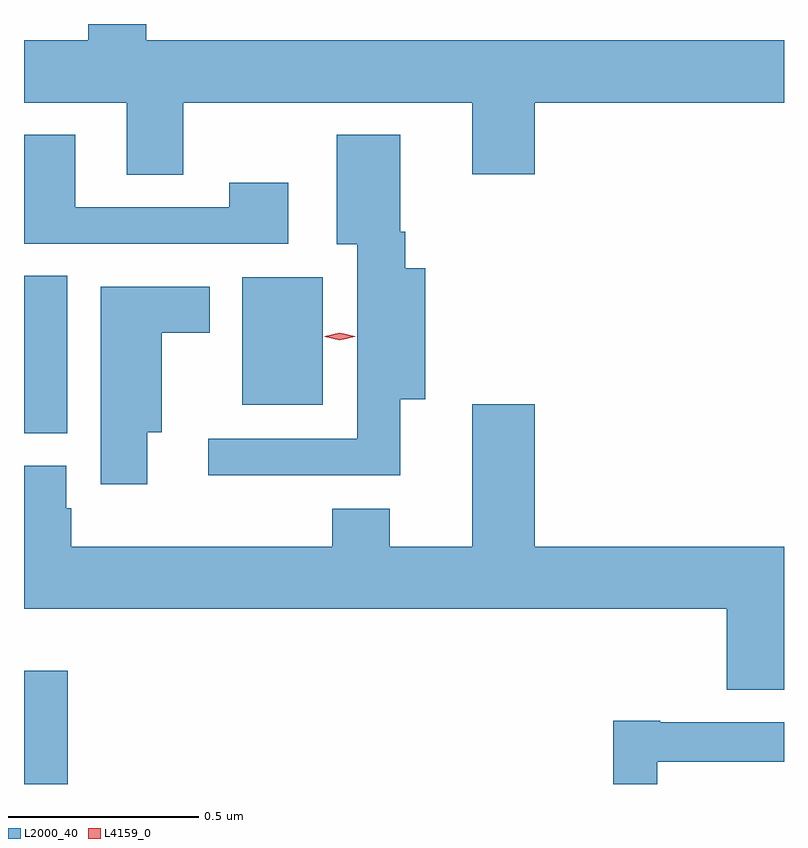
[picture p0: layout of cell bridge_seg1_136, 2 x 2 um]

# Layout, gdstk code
import gdstk
lib = gdstk.Library(unit=1e-6, precision=1e-09)
def R(c, l, rs):  # rectangles x0, y0, x1, y1
    for r in rs: c.add(gdstk.rectangle(r[:2], r[2:], *l))
def P(c, l, *ps):  # polygons
    for p in ps: c.add(gdstk.Polygon(p, *l))
L2000_40 = (2000, 40)
L4159_0 = (4159, 0)

bridge_seg1_136 = lib.new_cell('bridge_seg1_136')
R(bridge_seg1_136, L2000_40, [(499.492,532.623,499.607,532.921), (499.492,533.546,499.606,533.96), (500.066,533.621,500.278,533.956)])
P(bridge_seg1_136, L2000_40, [(499.911,534.416),(500.672,534.416),(500.672,534.228),(500.836,534.228),(500.836,534.416),(501.492,534.416),(501.492,534.58),(499.814,534.58),(499.814,534.623),(499.661,534.623),(499.661,534.58),(499.492,534.58),(499.492,534.416),(499.763,534.416),(499.763,534.226),(499.911,534.226)],
  [(500.482,533.636),(500.548,533.636),(500.548,533.98),(500.495,533.98),(500.495,534.076),(500.482,534.076),(500.482,534.331),(500.315,534.331),(500.315,534.044),(500.369,534.044),(500.369,533.532),(499.977,533.532),(499.977,533.435),(500.482,533.435)],
  [(500.188,534.205),(500.032,534.205),(500.032,534.141),(499.627,534.141),(499.627,534.331),(499.492,534.331),(499.492,534.045),(500.188,534.045)],
  [(499.816,533.549),(499.855,533.549),(499.855,533.81),(499.981,533.81),(499.981,533.932),(499.694,533.932),(499.694,533.412),(499.816,533.412)],
  [(501.492,533.248),(500.836,533.248),(500.836,533.623),(500.672,533.623),(500.672,533.248),(500.455,533.248),(500.455,533.347),(500.303,533.347),(500.303,533.248),(499.616,533.248),(499.616,533.349),(499.603,533.349),(499.603,533.461),(499.492,533.461),(499.492,533.084),(501.341,533.084),(501.341,532.871),(501.492,532.871)],
  [(501.159,532.682),(501.492,532.682),(501.492,532.786),(501.166,532.786),(501.166,532.789),(501.043,532.789),(501.043,532.623),(501.159,532.623)])
P(bridge_seg1_136, L4159_0, [(500.323,533.791),(500.283,533.8),(500.283,533.801),(500.283,533.801),(500.323,533.811),(500.363,533.801),(500.364,533.801),(500.363,533.8)])

lib.write_gds('bridge_seg1_136.gds')
